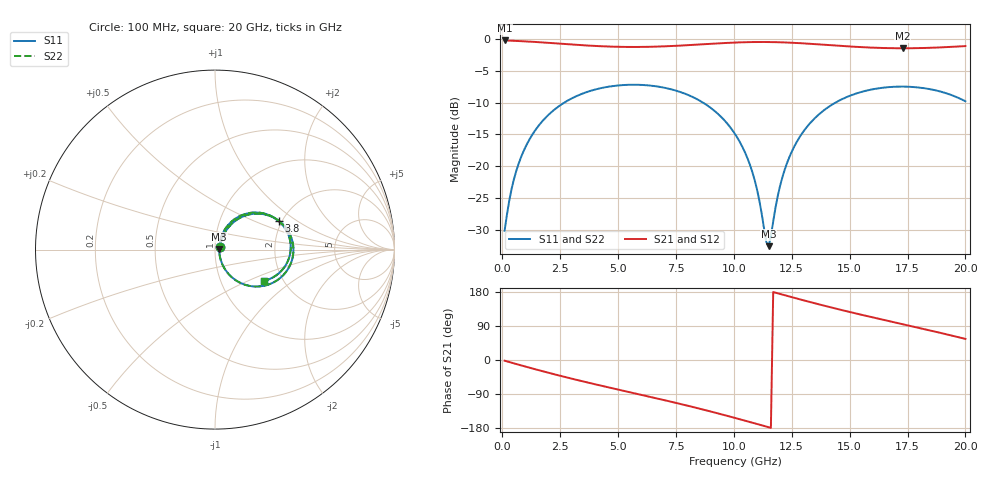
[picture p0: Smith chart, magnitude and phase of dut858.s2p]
! Touchstone file exported from HFSS 2026.1.0
!  File:  C:/ffzhzh/LocalFiles/Ansys_Project_Files/temp_train_TSV_RDL_858_1783270633_30076.aedt
!  Generated:  01:11:18 AM Jul  6, 2026
!  Design:  TSV_RDL
!  Project:  temp_train_TSV_RDL_858_1783270633_30076
! Variables:
!  h_bsmrdl = 2.29um
!  h_ox = 20um
!  h_rdl = 5um
!  h_sub = 93.67um
!  h_tmrdl = 5.47um
!  h_tsv = 93.67um
!  h_via = 3um
!  l_bsmrdl = 930.7um
!  l_sub = 5099.91um
!  l_tmrdl = 445.1um
!  m_sub = 200um
!  pitch = 39.23um
!  r_tsv = 5.29um
!  s_tmrdl = 10um
!  w_bsmrdl = 24.06um
!  w_sub = 500um
!  w_tmrdl = 18.41um
!  x_tsv_center1 = 454.305um
!  x_tsv_center2 = 1409.065um
!  x_tsv_center3 = 1872.575um
!  x_tsv_center4 = 2827.335um
!  x_tsv_center5 = 3290.845um
!  x_tsv_center6 = 4245.605um
# GHz S MA R 50.000000
! Terminal data exported
! Port[1] = TM_RDL1_1_T1
! Port[2] = TM_RDL5_1_T1
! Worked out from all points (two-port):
!   200 points, 100 MHz to 20 GHz, reference 50 ohm
!   highest |S21| = -0.24 dB at 100 MHz (marker M1); lowest = -1.5 dB at 17.3 GHz (marker M2)
!   |S21| within 3 dB of the highest: start of sweep to end of sweep
!   lowest |S11| = -32.5 dB at 11.5 GHz (marker M3), VSWR 1.05, Z = 52.4 + j0.298 ohm
!   |S11| at or under -10 dB: start of sweep to 2.677 GHz; 8.668 GHz to 14.39 GHz (5.721 GHz wide, 49.6 % of centre)
!   |S22| runs from -32.7 to -7.2 dB; largest |S21 - S12| = 1.7e-14
!   S11 on the Smith chart (normalised r, x): 100 MHz: 1.06, +0.03; 3.8 GHz: 1.93, +0.73; 20 GHz: 1.60, -0.62
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0.1  0.03117 28.3  0.9729 -1.8  0.9729 -1.8  0.03117 28.3
! Gamma 0 0 0 0
! Port Impedance 50 0 50 0
0.5  0.07884 58.0  0.9665 -8.9  0.9665 -8.9  0.07884 58.0
1.2  0.1656 57.4  0.9524 -20.7  0.9524 -20.7  0.1656 57.4
2.2  0.2738 45.7  0.9263 -37.0  0.9263 -37.0  0.2738 45.7
3.5  0.3743 28.2  0.8918 -56.7  0.8918 -56.7  0.3743 28.2
3.8  0.3907 24.2  0.8851 -61.1  0.8851 -61.1  0.3907 24.2
5.3  0.4353 4.5  0.8657 -82.2  0.8657 -82.2  0.4353 4.5
6.8  0.4203 -15.1  0.872 -103.1  0.872 -103.1  0.4203 -15.2
8.7  0.3137 -41.0  0.9089 -131.2  0.9089 -131.2  0.3137 -41.0
10.1  0.1736 -59.2  0.9375 -153.7  0.9375 -153.7  0.1735 -59.4
10.8  0.0899 -63.3  0.9451 -165.4  0.9451 -165.4  0.0898 -63.5
11.1  0.05399 -57.6  0.9462 -170.5  0.9462 -170.5  0.05381 -58.0
11.4  0.0255 -21.5  0.946 -175.6  0.946 -175.6  0.02508 -22.0
11.5  0.02358 6.9  0.9456 -177.3  0.9456 -177.3  0.02311 7.0
11.9  0.05879 60.1  0.9424 175.9  0.9424 175.9  0.05858 60.5
12.2  0.09446 64.4  0.9386 170.9  0.9386 170.9  0.09433 64.6
12.7  0.1534 61.9  0.9297 162.5  0.9297 162.5  0.1533 62.1
13.4  0.229 53.9  0.9134 151.2  0.9134 151.2  0.2289 54.0
15  0.3571 32.5  0.8727 126.8  0.8727 126.8  0.3571 32.6
16.7  0.4186 10.3  0.8467 102.7  0.8467 102.7  0.4185 10.3
17.3  0.4224 2.6  0.8446 94.4  0.8446 94.4  0.4224 2.6
20  0.3239 -32.5  0.8786 55.7  0.8786 55.7  0.3239 -32.5
